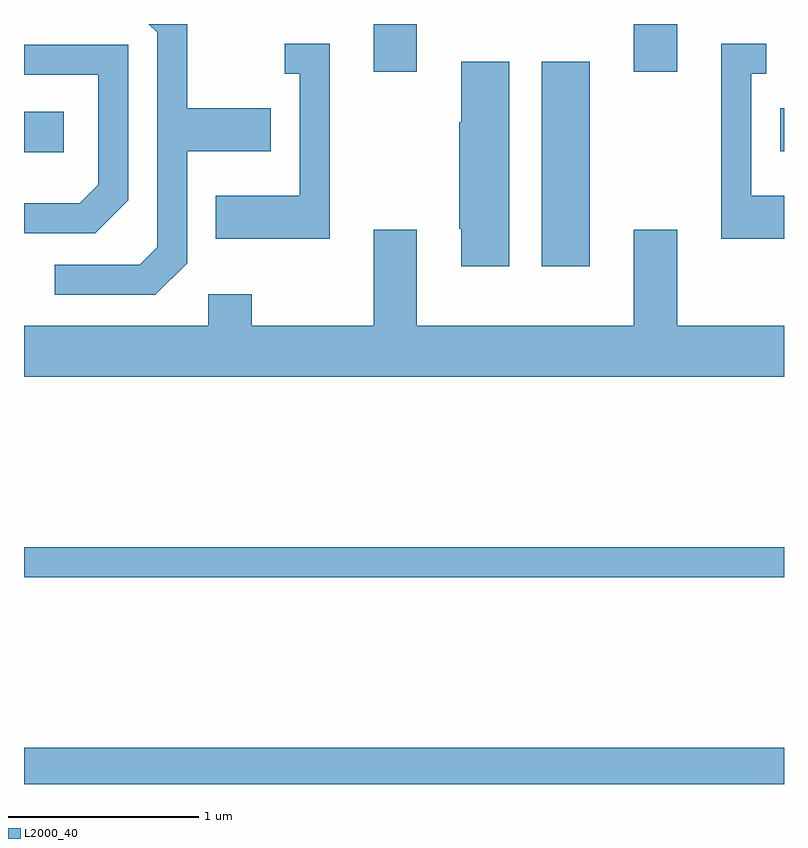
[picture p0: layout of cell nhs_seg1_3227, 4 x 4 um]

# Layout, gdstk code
import gdstk
lib = gdstk.Library(unit=1e-6, precision=1e-09)
def R(c, l, rs):  # rectangles x0, y0, x1, y1
    for r in rs: c.add(gdstk.rectangle(r[:2], r[2:], *l))
def P(c, l, *ps):  # polygons
    for p in ps: c.add(gdstk.Polygon(p, *l))
L2000_40 = (2000, 40)

nhs_seg1_3227 = lib.new_cell('nhs_seg1_3227')
R(nhs_seg1_3227, L2000_40, [(283.611,839.712,287.611,839.904), (283.611,840.801,287.611,840.959), (286.336,842.436,286.589,843.514), (283.611,843.036,283.819,843.249), (287.591,843.041,287.611,843.269), (285.451,843.461,285.679,843.712), (286.821,843.461,287.049,843.712)])
P(nhs_seg1_3227, L2000_40, [(284.469,842.454),(284.469,843.041),(284.909,843.041),(284.909,843.269),(284.469,843.269),(284.469,843.712),(284.268,843.712),(284.311,843.669),(284.311,842.537),(284.219,842.444),(283.773,842.444),(283.773,842.286),(284.302,842.286)],
  [(285.219,843.609),(284.983,843.609),(284.983,843.451),(285.061,843.451),(285.061,842.809),(284.621,842.809),(284.621,842.581),(285.219,842.581)],
  [(287.611,842.809),(287.439,842.809),(287.439,843.451),(287.518,843.451),(287.518,843.609),(287.281,843.609),(287.281,842.581),(287.611,842.581)],
  [(284.013,842.637),(284.159,842.784),(284.159,843.604),(283.611,843.604),(283.611,843.446),(284.001,843.446),(284.001,842.867),(283.904,842.769),(283.611,842.769),(283.611,842.611),(283.987,842.611)],
  [(286.164,843.514),(285.911,843.514),(285.911,843.195),(285.901,843.195),(285.901,842.635),(285.911,842.635),(285.911,842.436),(286.164,842.436)],
  [(287.611,842.124),(287.049,842.124),(287.049,842.629),(286.821,842.629),(286.821,842.124),(285.679,842.124),(285.679,842.629),(285.451,842.629),(285.451,842.124),(284.809,842.124),(284.809,842.289),(284.581,842.289),(284.581,842.124),(283.611,842.124),(283.611,841.856),(287.611,841.856)])

lib.write_gds('nhs_seg1_3227.gds')
